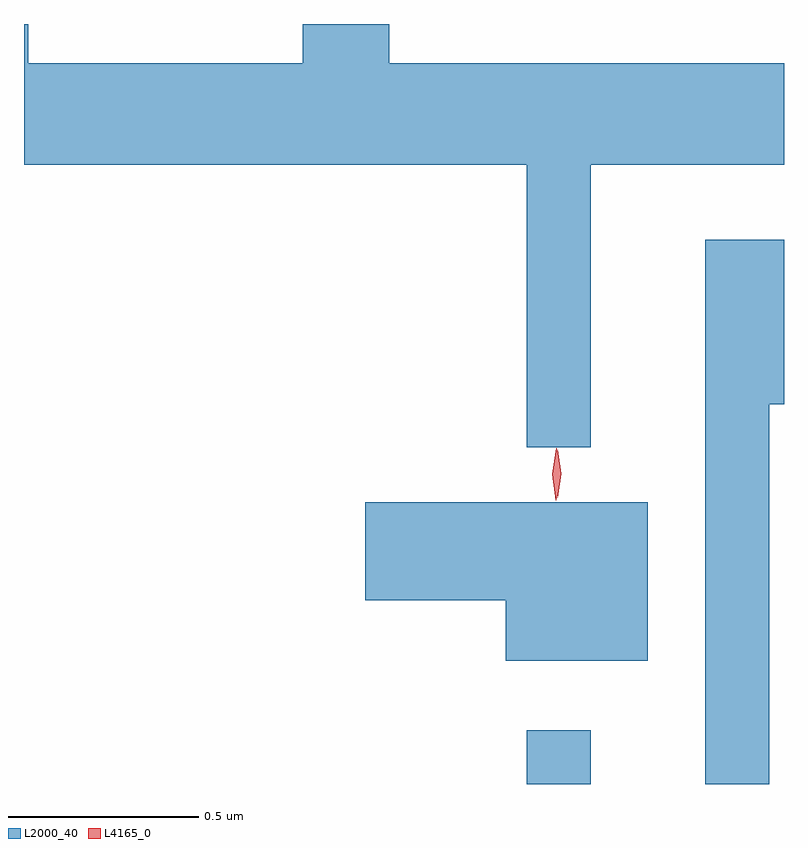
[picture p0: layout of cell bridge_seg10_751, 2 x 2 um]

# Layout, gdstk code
import gdstk
lib = gdstk.Library(unit=1e-6, precision=1e-09)
def R(c, l, rs):  # rectangles x0, y0, x1, y1
    for r in rs: c.add(gdstk.rectangle(r[:2], r[2:], *l))
def P(c, l, *ps):  # polygons
    for p in ps: c.add(gdstk.Polygon(p, *l))
L2000_40 = (2000, 40)
L4165_0 = (4165, 0)

bridge_seg10_751 = lib.new_cell('bridge_seg10_751')
R(bridge_seg10_751, L2000_40, [(1008.631,2125.607,1008.799,2125.748)])
P(bridge_seg10_751, L2000_40, [(1008.799,2127.236),(1009.308,2127.236),(1009.308,2127.504),(1008.269,2127.504),(1008.269,2127.607),(1008.041,2127.607),(1008.041,2127.504),(1007.319,2127.504),(1007.319,2127.607),(1007.308,2127.607),(1007.308,2127.236),(1008.631,2127.236),(1008.631,2126.493),(1008.799,2126.493)],
  [(1009.269,2126.606),(1009.308,2126.606),(1009.308,2127.039),(1009.101,2127.039),(1009.101,2125.607),(1009.269,2125.607)],
  [(1008.949,2126.349),(1008.206,2126.349),(1008.206,2126.091),(1008.576,2126.091),(1008.576,2125.931),(1008.949,2125.931)])
P(bridge_seg10_751, L4165_0, [(1008.712,2126.36),(1008.712,2126.36),(1008.702,2126.423),(1008.712,2126.486),(1008.712,2126.487),(1008.713,2126.486),(1008.722,2126.423),(1008.713,2126.36)],
  [(1008.707,2126.354),(1008.698,2126.422),(1008.709,2126.49),(1008.709,2126.49),(1008.71,2126.49),(1008.718,2126.422),(1008.708,2126.354),(1008.708,2126.354)])

lib.write_gds('bridge_seg10_751.gds')
